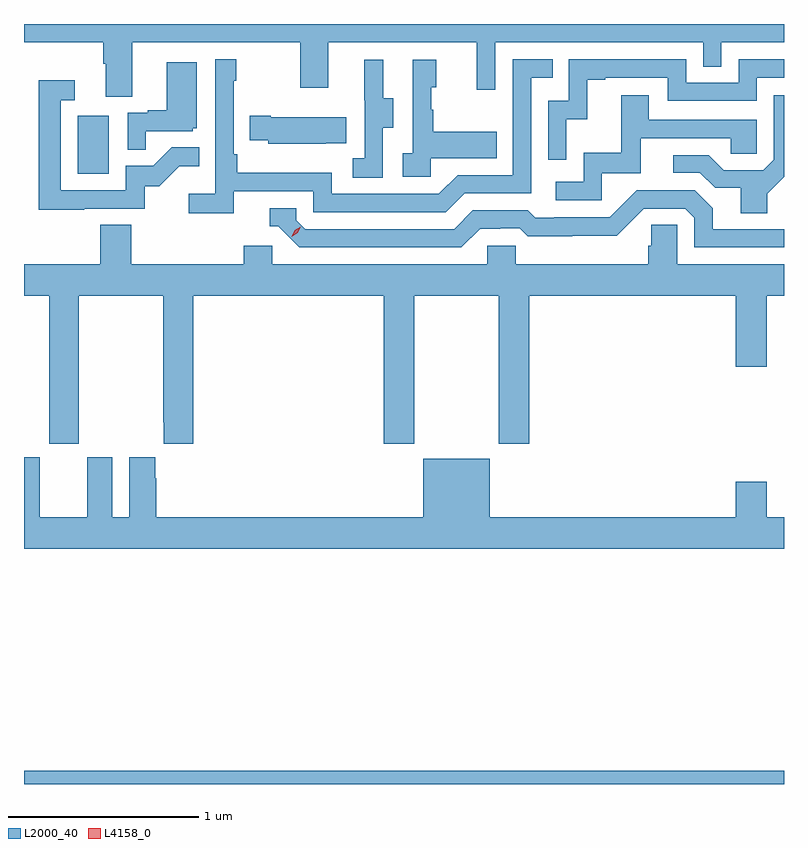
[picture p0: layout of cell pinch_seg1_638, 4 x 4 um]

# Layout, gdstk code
import gdstk
lib = gdstk.Library(unit=1e-6, precision=1e-09)
def R(c, l, rs):  # rectangles x0, y0, x1, y1
    for r in rs: c.add(gdstk.rectangle(r[:2], r[2:], *l))
def P(c, l, *ps):  # polygons
    for p in ps: c.add(gdstk.Polygon(p, *l))
L2000_40 = (2000, 40)
L4158_0 = (4158, 0)

pinch_seg1_638 = lib.new_cell('pinch_seg1_638')
R(pinch_seg1_638, L2000_40, [(1108.315,506.537,1112.315,506.608), (1108.598,509.748,1108.762,510.055)])
P(pinch_seg1_638, L2000_40, [(1108.885,510.44),(1109.77,510.44),(1109.77,510.201),(1109.917,510.201),(1109.917,510.44),(1110.698,510.44),(1110.698,510.192),(1110.795,510.192),(1110.795,510.44),(1111.89,510.44),(1111.89,510.313),(1111.986,510.313),(1111.986,510.44),(1112.315,510.44),(1112.315,510.537),(1108.315,510.537),(1108.315,510.44),(1108.733,510.44),(1108.733,510.328),(1108.745,510.328),(1108.745,510.154),(1108.885,510.154)],
  [(1109.42,509.658),(1109.838,509.658),(1109.838,509.547),(1110.535,509.547),(1110.634,509.646),(1110.984,509.646),(1110.984,510.255),(1111.097,510.255),(1111.097,510.351),(1110.888,510.351),(1110.888,509.742),(1110.597,509.742),(1110.498,509.643),(1109.934,509.643),(1109.934,509.755),(1109.438,509.755),(1109.438,509.851),(1109.418,509.851),(1109.418,510.239),(1109.431,510.239),(1109.431,510.352),(1109.322,510.352),(1109.322,509.644),(1109.181,509.644),(1109.181,509.542),(1109.42,509.542)],
  [(1111.17,510.035),(1111.28,510.035),(1111.28,510.243),(1111.375,510.243),(1111.375,510.255),(1111.704,510.255),(1111.704,510.132),(1112.172,510.132),(1112.172,510.255),(1112.315,510.255),(1112.315,510.351),(1112.076,510.351),(1112.076,510.228),(1111.8,510.228),(1111.8,510.351),(1111.182,510.351),(1111.182,510.132),(1111.074,510.132),(1111.074,509.823),(1111.17,509.823)],
  [(1110.204,509.992),(1110.259,509.992),(1110.259,510.147),(1110.205,510.147),(1110.205,510.349),(1110.107,510.349),(1110.107,510.135),(1110.108,510.135),(1110.108,509.831),(1110.045,509.831),(1110.045,509.728),(1110.204,509.728)],
  [(1110.456,509.831),(1110.803,509.831),(1110.803,509.971),(1110.469,509.971),(1110.469,510.086),(1110.459,510.086),(1110.459,510.204),(1110.484,510.204),(1110.484,510.349),(1110.36,510.349),(1110.36,509.858),(1110.309,509.858),(1110.309,509.733),(1110.456,509.733)],
  [(1108.955,509.973),(1109.202,509.973),(1109.202,509.988),(1109.224,509.988),(1109.224,510.337),(1109.066,510.337),(1109.066,510.082),(1108.967,510.082),(1108.967,510.069),(1108.86,510.069),(1108.86,509.875),(1108.955,509.875)],
  [(1108.631,509.565),(1108.95,509.565),(1108.95,509.682),(1109.026,509.682),(1109.133,509.789),(1109.237,509.789),(1109.237,509.888),(1109.093,509.888),(1108.995,509.79),(1108.851,509.79),(1108.851,509.661),(1108.509,509.661),(1108.509,510.135),(1108.582,510.135),(1108.582,510.241),(1108.393,510.241),(1108.393,509.56),(1108.631,509.56)],
  [(1112.227,509.644),(1112.315,509.732),(1112.315,510.163),(1112.262,510.163),(1112.262,509.823),(1112.205,509.766),(1111.999,509.766),(1111.918,509.847),(1111.731,509.847),(1111.731,509.754),(1111.872,509.754),(1111.952,509.674),(1112.087,509.674),(1112.087,509.542),(1112.227,509.542)],
  [(1111.356,509.751),(1111.561,509.751),(1111.561,509.937),(1112.035,509.937),(1112.035,509.853),(1112.172,509.853),(1112.172,510.033),(1111.603,510.033),(1111.603,510.163),(1111.459,510.163),(1111.459,509.86),(1111.26,509.86),(1111.26,509.706),(1111.113,509.706),(1111.113,509.61),(1111.356,509.61)],
  [(1109.903,509.909),(1110.011,509.909),(1110.011,510.046),(1109.614,510.046),(1109.614,510.054),(1109.503,510.054),(1109.503,509.924),(1109.601,509.924),(1109.601,509.906),(1109.903,509.906)],
  [(1110.715,509.46),(1110.822,509.46),(1110.822,509.463),(1110.925,509.463),(1110.967,509.421),(1111.2,509.421),(1111.2,509.423),(1111.436,509.423),(1111.578,509.565),(1111.794,509.565),(1111.842,509.517),(1111.842,509.361),(1112.315,509.361),(1112.315,509.457),(1111.939,509.457),(1111.939,509.567),(1111.845,509.661),(1111.539,509.661),(1111.398,509.52),(1111.105,509.52),(1111.105,509.517),(1111.006,509.517),(1110.967,509.556),(1110.678,509.556),(1110.579,509.457),(1109.796,509.457),(1109.748,509.505),(1109.748,509.568),(1109.609,509.568),(1109.609,509.472),(1109.652,509.472),(1109.763,509.361),(1110.616,509.361)],
  [(1108.602,509.108),(1109.047,509.108),(1109.047,508.441),(1109.051,508.441),(1109.051,508.329),(1109.207,508.329),(1109.207,509.108),(1110.209,509.108),(1110.209,508.329),(1110.369,508.329),(1110.369,509.108),(1110.814,509.108),(1110.814,508.329),(1110.974,508.329),(1110.974,509.108),(1112.06,509.108),(1112.06,508.734),(1112.224,508.734),(1112.224,509.108),(1112.315,509.108),(1112.315,509.272),(1111.752,509.272),(1111.752,509.48),(1111.615,509.48),(1111.615,509.37),(1111.601,509.37),(1111.601,509.272),(1110.903,509.272),(1110.903,509.37),(1110.753,509.37),(1110.753,509.272),(1109.622,509.272),(1109.622,509.37),(1109.471,509.37),(1109.471,509.272),(1108.88,509.272),(1108.88,509.48),(1108.715,509.48),(1108.715,509.272),(1108.315,509.272),(1108.315,509.108),(1108.447,509.108),(1108.447,508.329),(1108.602,508.329)],
  [(1109.005,508.145),(1109.005,508.258),(1108.868,508.258),(1108.868,507.94),(1108.78,507.94),(1108.78,508.258),(1108.649,508.258),(1108.649,507.94),(1108.399,507.94),(1108.399,508.258),(1108.315,508.258),(1108.315,507.776),(1112.315,507.776),(1112.315,507.94),(1112.224,507.94),(1112.224,508.129),(1112.06,508.129),(1112.06,507.94),(1110.766,507.94),(1110.766,508.249),(1110.416,508.249),(1110.416,507.94),(1109.012,507.94),(1109.012,508.145)])
P(pinch_seg1_638, L4158_0, [(1109.725,509.418),(1109.725,509.419),(1109.741,509.451),(1109.772,509.471),(1109.772,509.471),(1109.772,509.471),(1109.756,509.438),(1109.725,509.418)])

lib.write_gds('pinch_seg1_638.gds')
